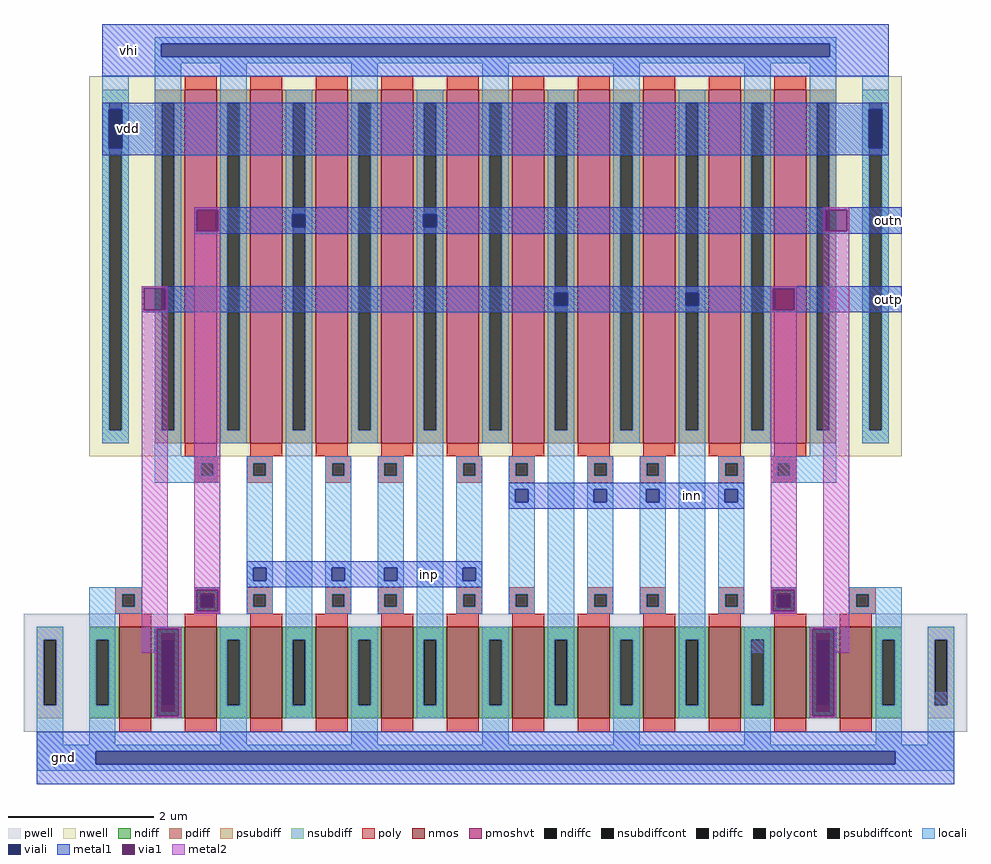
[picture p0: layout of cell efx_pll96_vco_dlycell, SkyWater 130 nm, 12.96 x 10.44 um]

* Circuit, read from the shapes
.subckt efx_pll96_vco_dlycell vhi vdd gnd inp inn outn outp
XM1 outp gnd gnd gnd sky130_fd_pr__nfet_01v8 w=1.26 l=0.44
XM2 gnd outn outp gnd sky130_fd_pr__nfet_01v8 w=1.26 l=0.44
XM3 outn inp gnd gnd sky130_fd_pr__nfet_01v8 w=1.26 l=0.44 m=4
XM4 outp inn gnd gnd sky130_fd_pr__nfet_01v8 w=1.26 l=0.44 m=4
XM5 outn outp gnd gnd sky130_fd_pr__nfet_01v8 w=1.26 l=0.44
XM6 gnd gnd outn gnd sky130_fd_pr__nfet_01v8 w=1.26 l=0.44
XM7 vhi vhi vhi vdd sky130_fd_pr__pfet_01v8_hvt w=4.86 l=0.44 m=2
XM8 outn inp vhi vdd sky130_fd_pr__pfet_01v8_hvt w=4.86 l=0.44 m=4
XM9 outp inn vhi vdd sky130_fd_pr__pfet_01v8_hvt w=4.86 l=0.44 m=4
.ends

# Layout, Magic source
magic
tech sky130A
magscale 1 2
<< poly >>
rect 720 593 792 612
rect 720 559 739 593
rect 773 559 792 593
rect 720 540 792 559
rect 864 593 936 612
rect 864 559 883 593
rect 917 559 936 593
rect 864 540 936 559
rect 1080 593 1152 612
rect 1080 559 1099 593
rect 1133 559 1152 593
rect 1080 540 1152 559
rect 1224 593 1296 612
rect 1224 559 1243 593
rect 1277 559 1296 593
rect 1224 540 1296 559
rect 1440 593 1512 612
rect 1440 559 1459 593
rect 1493 559 1512 593
rect 1440 540 1512 559
rect 1584 593 1656 612
rect 1584 559 1603 593
rect 1637 559 1656 593
rect 1584 540 1656 559
rect 1800 593 1872 612
rect 1800 559 1819 593
rect 1853 559 1872 593
rect 1800 540 1872 559
rect 1944 593 2016 612
rect 1944 559 1963 593
rect 1997 559 2016 593
rect 1944 540 2016 559
rect 2160 593 2232 612
rect 2160 559 2179 593
rect 2213 559 2232 593
rect 2160 540 2232 559
rect 2304 593 2376 612
rect 2304 559 2323 593
rect 2357 559 2376 593
rect 2304 540 2376 559
rect 504 233 576 252
rect 504 199 523 233
rect 557 199 576 233
rect 504 180 576 199
rect 720 233 792 252
rect 720 199 739 233
rect 773 199 792 233
rect 720 180 792 199
rect 864 233 936 252
rect 864 199 883 233
rect 917 199 936 233
rect 864 180 936 199
rect 1080 233 1152 252
rect 1080 199 1099 233
rect 1133 199 1152 233
rect 1080 180 1152 199
rect 1224 233 1296 252
rect 1224 199 1243 233
rect 1277 199 1296 233
rect 1224 180 1296 199
rect 1440 233 1512 252
rect 1440 199 1459 233
rect 1493 199 1512 233
rect 1440 180 1512 199
rect 1584 233 1656 252
rect 1584 199 1603 233
rect 1637 199 1656 233
rect 1584 180 1656 199
rect 1800 233 1872 252
rect 1800 199 1819 233
rect 1853 199 1872 233
rect 1800 180 1872 199
rect 1944 233 2016 252
rect 1944 199 1963 233
rect 1997 199 2016 233
rect 1944 180 2016 199
rect 2160 233 2232 252
rect 2160 199 2179 233
rect 2213 199 2232 233
rect 2160 180 2232 199
rect 2304 233 2376 252
rect 2304 199 2323 233
rect 2357 199 2376 233
rect 2304 180 2376 199
rect 2520 233 2592 252
rect 2520 199 2539 233
rect 2573 199 2592 233
rect 2520 180 2592 199
<< polycont >>
rect 739 559 773 593
rect 883 559 917 593
rect 1099 559 1133 593
rect 1243 559 1277 593
rect 1459 559 1493 593
rect 1603 559 1637 593
rect 1819 559 1853 593
rect 1963 559 1997 593
rect 2179 559 2213 593
rect 2323 559 2357 593
rect 523 199 557 233
rect 739 199 773 233
rect 883 199 917 233
rect 1099 199 1133 233
rect 1243 199 1277 233
rect 1459 199 1493 233
rect 1603 199 1637 233
rect 1819 199 1853 233
rect 1963 199 1997 233
rect 2179 199 2213 233
rect 2323 199 2357 233
rect 2539 199 2573 233
<< locali >>
rect 612 1746 2484 1764
rect 612 1710 630 1746
rect 2466 1710 2484 1746
rect 612 1692 2484 1710
rect 468 1566 540 1656
rect 612 1584 684 1692
rect 792 1584 864 1692
rect 1152 1584 1224 1692
rect 1512 1584 1584 1692
rect 1872 1584 1944 1692
rect 2232 1584 2304 1692
rect 2412 1584 2484 1692
rect 468 1458 486 1566
rect 522 1458 540 1566
rect 468 1440 540 1458
rect 2556 1566 2628 1656
rect 2556 1458 2574 1566
rect 2610 1458 2628 1566
rect 2556 1440 2628 1458
rect 972 1278 1044 1296
rect 972 1242 990 1278
rect 1026 1242 1044 1278
rect 972 1224 1044 1242
rect 1332 1278 1404 1296
rect 1332 1242 1350 1278
rect 1386 1242 1404 1278
rect 1332 1224 1404 1242
rect 1692 1062 1764 1080
rect 1692 1026 1710 1062
rect 1746 1026 1764 1062
rect 1692 1008 1764 1026
rect 2052 1062 2124 1080
rect 2052 1026 2070 1062
rect 2106 1026 2124 1062
rect 2052 1008 2124 1026
rect 612 612 684 684
rect 612 593 792 612
rect 612 559 739 593
rect 773 559 792 593
rect 612 540 792 559
rect 864 593 936 612
rect 864 559 883 593
rect 917 559 936 593
rect 864 306 936 559
rect 864 270 882 306
rect 918 270 936 306
rect 432 233 576 252
rect 432 199 523 233
rect 557 199 576 233
rect 432 180 576 199
rect 720 234 792 252
rect 720 198 738 234
rect 774 198 792 234
rect 720 180 792 198
rect 864 233 936 270
rect 864 199 883 233
rect 917 199 936 233
rect 864 180 936 199
rect 432 108 504 180
rect 612 126 684 144
rect 288 -180 360 -72
rect 432 -180 504 -72
rect 612 -90 630 126
rect 666 -90 684 126
rect 972 108 1044 684
rect 1080 593 1152 612
rect 1080 559 1099 593
rect 1133 559 1152 593
rect 1080 306 1152 559
rect 1080 270 1098 306
rect 1134 270 1152 306
rect 1080 233 1152 270
rect 1080 199 1099 233
rect 1133 199 1152 233
rect 1080 180 1152 199
rect 1224 593 1296 612
rect 1224 559 1243 593
rect 1277 559 1296 593
rect 1224 306 1296 559
rect 1224 270 1242 306
rect 1278 270 1296 306
rect 1224 233 1296 270
rect 1224 199 1243 233
rect 1277 199 1296 233
rect 1224 180 1296 199
rect 1332 108 1404 684
rect 1440 593 1512 612
rect 1440 559 1459 593
rect 1493 559 1512 593
rect 1440 306 1512 559
rect 1440 270 1458 306
rect 1494 270 1512 306
rect 1440 233 1512 270
rect 1440 199 1459 233
rect 1493 199 1512 233
rect 1440 180 1512 199
rect 1584 593 1656 612
rect 1584 559 1603 593
rect 1637 559 1656 593
rect 1584 522 1656 559
rect 1584 486 1602 522
rect 1638 486 1656 522
rect 1584 233 1656 486
rect 1584 199 1603 233
rect 1637 199 1656 233
rect 1584 180 1656 199
rect 1692 108 1764 684
rect 1800 593 1872 612
rect 1800 559 1819 593
rect 1853 559 1872 593
rect 1800 522 1872 559
rect 1800 486 1818 522
rect 1854 486 1872 522
rect 1800 233 1872 486
rect 1800 199 1819 233
rect 1853 199 1872 233
rect 1800 180 1872 199
rect 1944 593 2016 612
rect 1944 559 1963 593
rect 1997 559 2016 593
rect 1944 522 2016 559
rect 1944 486 1962 522
rect 1998 486 2016 522
rect 1944 233 2016 486
rect 1944 199 1963 233
rect 1997 199 2016 233
rect 1944 180 2016 199
rect 2052 108 2124 684
rect 2412 612 2484 684
rect 2160 593 2232 612
rect 2160 559 2179 593
rect 2213 559 2232 593
rect 2160 522 2232 559
rect 2304 593 2484 612
rect 2304 559 2323 593
rect 2357 559 2484 593
rect 2304 540 2484 559
rect 2160 486 2178 522
rect 2214 486 2232 522
rect 2160 233 2232 486
rect 2160 199 2179 233
rect 2213 199 2232 233
rect 2160 180 2232 199
rect 2304 234 2376 252
rect 2304 198 2322 234
rect 2358 198 2376 234
rect 2304 180 2376 198
rect 2520 233 2664 252
rect 2520 199 2539 233
rect 2573 199 2664 233
rect 2520 180 2664 199
rect 2232 72 2304 144
rect 2412 126 2484 144
rect 612 -108 684 -90
rect 792 -180 864 -72
rect 1152 -180 1224 -72
rect 1512 -180 1584 -72
rect 1872 -180 1944 -72
rect 2232 -180 2304 -72
rect 2412 -90 2430 126
rect 2466 -90 2484 126
rect 2592 108 2664 180
rect 2412 -108 2484 -90
rect 2592 -180 2664 -72
rect 2736 -180 2808 -36
rect 288 -198 2808 -180
rect 288 -234 450 -198
rect 2646 -234 2808 -198
rect 288 -252 2808 -234
<< viali >>
rect 630 1710 2466 1746
rect 486 1458 522 1566
rect 2574 1458 2610 1566
rect 990 1242 1026 1278
rect 1350 1242 1386 1278
rect 1710 1026 1746 1062
rect 2070 1026 2106 1062
rect 882 270 918 306
rect 738 233 774 234
rect 738 199 739 233
rect 739 199 773 233
rect 773 199 774 233
rect 738 198 774 199
rect 630 -90 666 126
rect 1098 270 1134 306
rect 1242 270 1278 306
rect 1458 270 1494 306
rect 1602 486 1638 522
rect 1818 486 1854 522
rect 1962 486 1998 522
rect 2178 486 2214 522
rect 2322 233 2358 234
rect 2322 199 2323 233
rect 2323 199 2357 233
rect 2357 199 2358 233
rect 2322 198 2358 199
rect 2430 -90 2466 126
rect 450 -234 2646 -198
<< metal1 >>
rect 468 1746 2628 1800
rect 468 1710 630 1746
rect 2466 1710 2628 1746
rect 468 1656 2628 1710
rect 468 1566 2628 1584
rect 468 1458 486 1566
rect 522 1458 2574 1566
rect 2610 1458 2628 1566
rect 468 1440 2628 1458
rect 720 1290 2664 1296
rect 720 1230 726 1290
rect 786 1278 2454 1290
rect 786 1242 990 1278
rect 1026 1242 1350 1278
rect 1386 1242 2454 1278
rect 786 1230 2454 1242
rect 2514 1230 2664 1290
rect 720 1224 2664 1230
rect 576 1074 2664 1080
rect 576 1014 582 1074
rect 642 1062 2310 1074
rect 642 1026 1710 1062
rect 1746 1026 2070 1062
rect 2106 1026 2310 1062
rect 642 1014 2310 1026
rect 2370 1014 2664 1074
rect 576 1008 2664 1014
rect 1584 522 2232 540
rect 1584 486 1602 522
rect 1638 486 1818 522
rect 1854 486 1962 522
rect 1998 486 2178 522
rect 2214 486 2232 522
rect 1584 468 2232 486
rect 864 306 1512 324
rect 864 270 882 306
rect 918 270 1098 306
rect 1134 270 1242 306
rect 1278 270 1458 306
rect 1494 270 1512 306
rect 864 252 1512 270
rect 720 246 792 252
rect 720 186 726 246
rect 786 186 792 246
rect 720 180 792 186
rect 2304 246 2376 252
rect 2304 186 2310 246
rect 2370 186 2376 246
rect 2304 180 2376 186
rect 612 138 684 144
rect 612 -102 618 138
rect 678 -102 684 138
rect 612 -108 684 -102
rect 2412 138 2484 144
rect 2412 -102 2418 138
rect 2478 -102 2484 138
rect 2412 -108 2484 -102
rect 288 -198 2808 -144
rect 288 -234 450 -198
rect 2646 -234 2808 -198
rect 288 -288 2808 -234
<< via1 >>
rect 726 1230 786 1290
rect 2454 1230 2514 1290
rect 582 1014 642 1074
rect 2310 1014 2370 1074
rect 726 234 786 246
rect 726 198 738 234
rect 738 198 774 234
rect 774 198 786 234
rect 726 186 786 198
rect 2310 234 2370 246
rect 2310 198 2322 234
rect 2322 198 2358 234
rect 2358 198 2370 234
rect 2310 186 2370 198
rect 618 126 678 138
rect 618 -90 630 126
rect 630 -90 666 126
rect 666 -90 678 126
rect 618 -102 678 -90
rect 2418 126 2478 138
rect 2418 -90 2430 126
rect 2430 -90 2466 126
rect 2466 -90 2478 126
rect 2418 -102 2478 -90
<< metal2 >>
rect 720 1290 792 1296
rect 720 1230 726 1290
rect 786 1230 792 1290
rect 576 1074 648 1080
rect 576 1014 582 1074
rect 642 1014 648 1074
rect 576 144 648 1014
rect 720 246 792 1230
rect 2448 1290 2520 1296
rect 2448 1230 2454 1290
rect 2514 1230 2520 1290
rect 720 186 726 246
rect 786 186 792 246
rect 720 180 792 186
rect 2304 1074 2376 1080
rect 2304 1014 2310 1074
rect 2370 1014 2376 1074
rect 2304 246 2376 1014
rect 2304 186 2310 246
rect 2370 186 2376 246
rect 2304 180 2376 186
rect 2448 144 2520 1230
rect 576 138 684 144
rect 576 72 618 138
rect 612 -102 618 72
rect 678 -102 684 138
rect 612 -108 684 -102
rect 2412 138 2520 144
rect 2412 -102 2418 138
rect 2478 72 2520 138
rect 2478 -102 2484 72
rect 2412 -108 2484 -102
use nmos_n7_f12_l440_tl_tr  nmos_n7_f12_l440_tl_tr_0
transform 1 0 468 0 1 -108
box -216 -36 2376 288
use pmos_n27_f10_l440_tl_tr_hvt  pmos_n27_f10_l440_tl_tr_hvt_0
transform 1 0 648 0 1 648
box -216 -36 2016 1008
<< labels >>
flabel metal1 468 1656 612 1800 0 FreeSans 288 0 0 0 vhi
port 1 nsew signal bidirectional
flabel metal1 468 1440 612 1584 0 FreeSans 288 0 0 0 vdd
port 2 nsew power bidirectional
flabel metal1 288 -288 432 -144 0 FreeSans 288 0 0 0 gnd
port 3 nsew ground bidirectional
flabel metal1 2592 1008 2664 1080 0 FreeSans 288 0 0 0 outp
port 7 nsew signal output
flabel metal1 2052 468 2124 540 0 FreeSans 288 0 0 0 inn
port 5 nsew signal input
flabel metal1 1332 252 1404 324 0 FreeSans 288 0 0 0 inp
port 4 nsew signal input
flabel metal1 2592 1224 2664 1296 0 FreeSans 288 0 0 0 outn
port 6 nsew signal output
<< end >>

# cell nmos_n7_f12_l440_tl_tr: kit device nmos, n 7 fingers 12 length 0.44 butted 0 ltap 1 rtap 1 vt std tgate 0 bgate 0

# cell pmos_n27_f10_l440_tl_tr_hvt: kit device pmos, n 27 fingers 10 length 0.44 butted 0 ltap 1 rtap 1 vt hvt tgate 0 bgate 0
